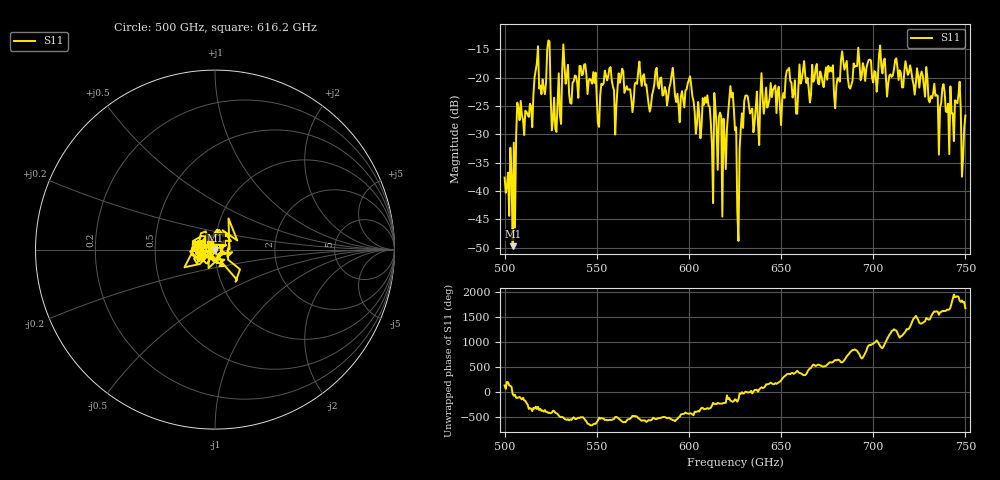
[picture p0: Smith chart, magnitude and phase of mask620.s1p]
!Created with skrf (http://scikit-rf.org).
# GHz S MA R 50.0
!freq magS11 angS11
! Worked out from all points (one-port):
!   401 points, 500 GHz to 750 GHz, reference 50 ohm
!   lowest |S11| = -49.7 dB at 504.4 GHz (marker M1), VSWR 1.01, Z = 50.3 - j0.209 ohm
!   |S11| at or under -10 dB: start of sweep to end of sweep
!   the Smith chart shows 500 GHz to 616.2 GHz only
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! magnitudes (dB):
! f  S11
! 500 GHz  -37.6
! 504.4 GHz  -49.7
! 507.5 GHz  -25.4
! 513.8 GHz  -24.6
! 516.9 GHz  -18.7
! 521.2 GHz  -21.9
! 523.8 GHz  -13.4
! 526.9 GHz  -23.5
! 531.2 GHz  -18.7
! 542.5 GHz  -19.4
! 551.2 GHz  -28.7
! 562.5 GHz  -20.9
! 578.8 GHz  -26.0
! 590.6 GHz  -19.4
! 593.8 GHz  -22.8
! 610 GHz  -23.1
! 611.9 GHz  -27.9
! 619.4 GHz  -30.6
! 623.1 GHz  -23.5
! 625 GHz  -29.3
! 626.9 GHz  -48.8
! 631.2 GHz  -23.1
! 656.2 GHz  -23.5
! 680 GHz  -21.4
! 683.8 GHz  -17.1
! 687.5 GHz  -21.9
! 718.8 GHz  -19.5
! 750 GHz  -26.7
